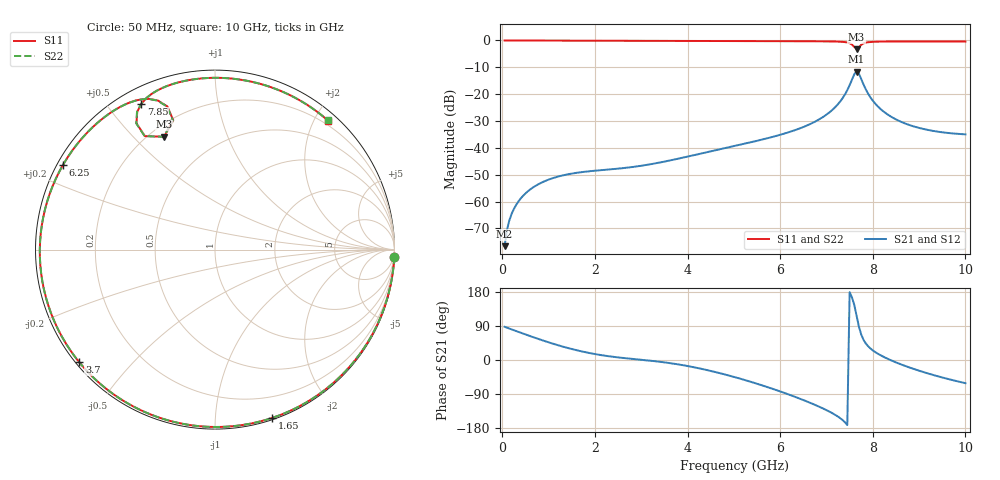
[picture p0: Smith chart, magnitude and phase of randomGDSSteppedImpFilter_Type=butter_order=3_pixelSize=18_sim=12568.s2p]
! freq	dB(S11)	phase(S11)	dB(S12)	phase(S12)
!  dB(S21)	phase(S21)	dB(S22)	phase(S22)
!S-par simulation data
#  GHz  S  DB  R 50
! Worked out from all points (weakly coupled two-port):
!   200 points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, 50 MHz to 10 GHz, reference 50 ohm
!   highest |S21| = -11.57 dB at 7.65 GHz (marker M1); lowest = -76.6 dB at 50 MHz (marker M2)
!   lowest |S11| = -3.2 dB at 7.65 GHz (marker M3), VSWR 5.45, Z = 12.8 + j30.8 ohm
!   |S11| at or under -10 dB: nowhere
!   |S22| runs from -3.2 to 0.0 dB; largest |S21 - S12| = 0
!   S11 on the Smith chart (normalised r, x): 50 MHz: 0, -50; 1.65 GHz: 0.01, -1.40; 3.7 GHz: 0.01, -0.36; 6.25 GHz: 0.02, +0.26; 7.85 GHz: 0.06, +0.61; 10 GHz: 0.13, +2.20
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0.05  -0.00 -2.3  -76.63 87.6  -76.63 87.6  -0.00 -2.3
0.1  -0.00 -4.6  -70.63 85.3  -70.63 85.3  -0.00 -4.6
0.2  -0.01 -9.1  -64.67 80.8  -64.67 80.8  -0.01 -9.1
0.45  -0.03 -20.4  -57.85 69.6  -57.85 69.6  -0.03 -20.4
0.95  -0.05 -42.4  -52.17 48.6  -52.17 48.6  -0.05 -42.4
1.65  -0.08 -71.3  -49.20 24.5  -49.20 24.5  -0.08 -71.2
1.75  -0.09 -75.2  -48.97 21.7  -48.97 21.7  -0.09 -75.1
2.5  -0.11 -102.5  -47.75 6.8  -47.75 6.8  -0.11 -102.4
3.4  -0.14 -131.4  -45.47 -4.7  -45.47 -4.7  -0.14 -131.4
3.7  -0.15 -140.4  -44.41 -9.7  -44.41 -9.7  -0.15 -140.3
5.05  -0.21 -177.6  -39.19 -46.2  -39.19 -46.2  -0.21 -177.5
6.25  -0.27 150.8  -33.83 -93.9  -33.83 -93.9  -0.27 150.9
6.7  -0.30 138.6  -30.72 -115.6  -30.72 -115.6  -0.30 138.7
7.15  -0.38 125.3  -25.50 -142.0  -25.50 -142.0  -0.38 125.4
7.45  -0.76 113.6  -18.51 -171.6  -18.51 -171.6  -0.76 113.7
7.6  -2.42 107.9  -12.61 145.4  -12.61 145.4  -2.41 108.0
7.65  -3.22 114.3  -11.57 117.3  -11.57 117.3  -3.22 114.4
7.75  -1.63 121.9  -14.33 67.4  -14.33 67.4  -1.63 122.0
7.85  -0.81 116.8  -18.24 43.5  -18.24 43.5  -0.81 116.9
8.35  -0.39 98.2  -27.92 1.6  -27.92 1.6  -0.39 98.4
9.05  -0.38 77.1  -32.80 -30.2  -32.80 -30.2  -0.38 77.3
10  -0.40 48.8  -34.98 -61.2  -34.98 -61.2  -0.40 49.0
